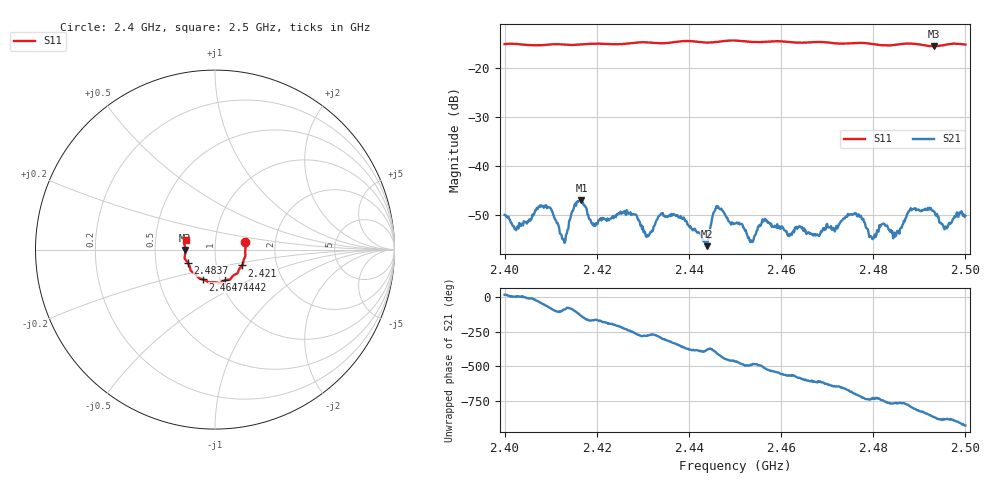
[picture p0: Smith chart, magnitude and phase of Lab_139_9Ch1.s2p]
# Hz S RI R 50
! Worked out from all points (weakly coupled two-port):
!   601 points, 2.4 GHz to 2.5 GHz, reference 50 ohm
!   highest |S21| = -47.07 dB at 2.4167 GHz (marker M1); lowest = -56.4 dB at 2.4438 GHz (marker M2)
!   lowest |S11| = -15.6 dB at 2.4932 GHz (marker M3), VSWR 1.40, Z = 35.8 - j0.105 ohm
!   |S11| at or under -10 dB: start of sweep to end of sweep
!   S12 and S22 are empty: the file has one direction only
!   S11 on the Smith chart (normalised r, x): 2.4 GHz: 1.40, +0.12; 2.421 GHz: 1.33, -0.24; 2.4442 GHz: 1.05, -0.37; 2.4647 GHz: 0.83, -0.28; 2.4837 GHz: 0.73, -0.11; 2.5 GHz: 0.72, +0.08
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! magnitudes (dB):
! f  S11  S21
! 2.4 GHz  -15.2  -50.0
! 2.4095 GHz  -15.3  -48.5
! 2.4128 GHz  -15.3  -55.0
! 2.4167 GHz  -15.3  -47.1
! 2.421 GHz  -15.1  -51.1
! 2.4282 GHz  -15.0  -50.0
! 2.431 GHz  -14.9  -54.1
! 2.4333 GHz  -15.0  -50.4
! 2.4438 GHz  -14.9  -56.4
! 2.4442 GHz  -14.9  -55.0
! 2.446 GHz  -14.8  -48.2
! 2.45 GHz  -14.5  -51.8
! 2.4535 GHz  -14.8  -55.2
! 2.4563 GHz  -14.8  -51.1
! 2.4647 GHz  -14.9  -52.9
! 2.4667 GHz  -14.8  -53.9
! 2.4757 GHz  -15.0  -49.9
! 2.4797 GHz  -15.2  -54.5
! 2.4833 GHz  -15.5  -53.0
! 2.4837 GHz  -15.5  -53.5
! 2.4932 GHz  -15.6  -49.3
! 2.5 GHz  -15.3  -50.2
